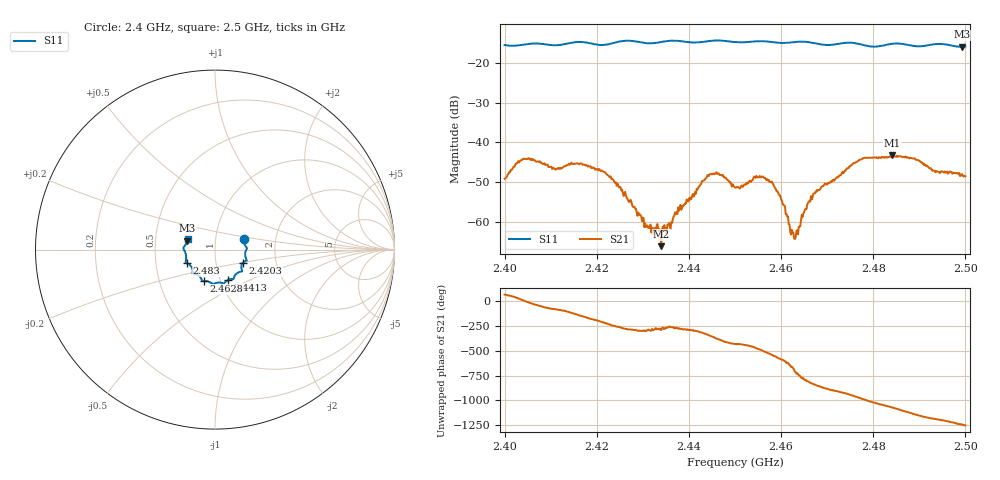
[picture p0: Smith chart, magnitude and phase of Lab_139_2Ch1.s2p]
# Hz S RI R 50
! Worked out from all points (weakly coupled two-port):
!   601 points, 2.4 GHz to 2.5 GHz, reference 50 ohm
!   highest |S21| = -43.28 dB at 2.4842 GHz (marker M1); lowest = -66.2 dB at 2.434 GHz (marker M2)
!   lowest |S11| = -15.8 dB at 2.4993 GHz (marker M3), VSWR 1.39, Z = 36.5 + j3.72 ohm
!   |S11| at or under -10 dB: start of sweep to end of sweep
!   S12 and S22 are empty: the file has one direction only
!   S11 on the Smith chart (normalised r, x): 2.4 GHz: 1.37, +0.16; 2.4203 GHz: 1.35, -0.21; 2.4413 GHz: 1.09, -0.38; 2.4628 GHz: 0.83, -0.30; 2.483 GHz: 0.72, -0.11; 2.5 GHz: 0.73, +0.09
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2.4e9  0.1608 0.0569  0.00145 0.00315  0 0  0 0
2.404333e9  0.1728 0.0162  0.00623 0.000259  0 0  0 0
2.410833e9  0.1685 -0.0189  0.000811 -0.0046  0 0  0 0
2.416667e9  0.1762 -0.0615  -0.0047 -0.00271  0 0  0 0
2.420333e9  0.1552 -0.0739  -0.0042 0.00149  0 0  0 0
2.425e9  0.1504 -0.1152  -0.000405 0.00273  0 0  0 0
2.430833e9  0.1247 -0.13  0.000411 0.000781  0 0  0 0
2.433333e9  0.1081 -0.1484  0.000177 0.000797  0 0  0 0
2.434e9  0.1065 -0.1534  0.000168 0.000458  0 0  0 0
2.441333e9  0.0742 -0.1681  0.00112 0.00208  0 0  0 0
2.4455e9  0.0509 -0.1876  0.00394 -0.000423  0 0  0 0
2.45e9  0.0293 -0.1839  0.000832 -0.00257  0 0  0 0
2.4545e9  -0.00556 -0.1902  -0.00126 -0.00333  0 0  0 0
2.457833e9  -0.0217 -0.1854  -0.00316 -5.61e-05  0 0  0 0
2.462833e9  -0.063 -0.1748  0.000544 0.000283  0 0  0 0
2.466667e9  -0.0743 -0.1675  -0.000576 -0.00181  0 0  0 0
2.477167e9  -0.1242 -0.1233  -0.00144 0.00586  0 0  0 0
2.483e9  -0.1549 -0.0767  0.0059 0.00259  0 0  0 0
2.483333e9  -0.1571 -0.0758  0.00613 0.00221  0 0  0 0
2.484167e9  -0.1614 -0.0737  0.00678 0.00106  0 0  0 0
2.499333e9  -0.1543 0.0497  -0.00377 -0.00123  0 0  0 0
2.5e9  -0.1525 0.0586  -0.0037 -0.000554  0 0  0 0
